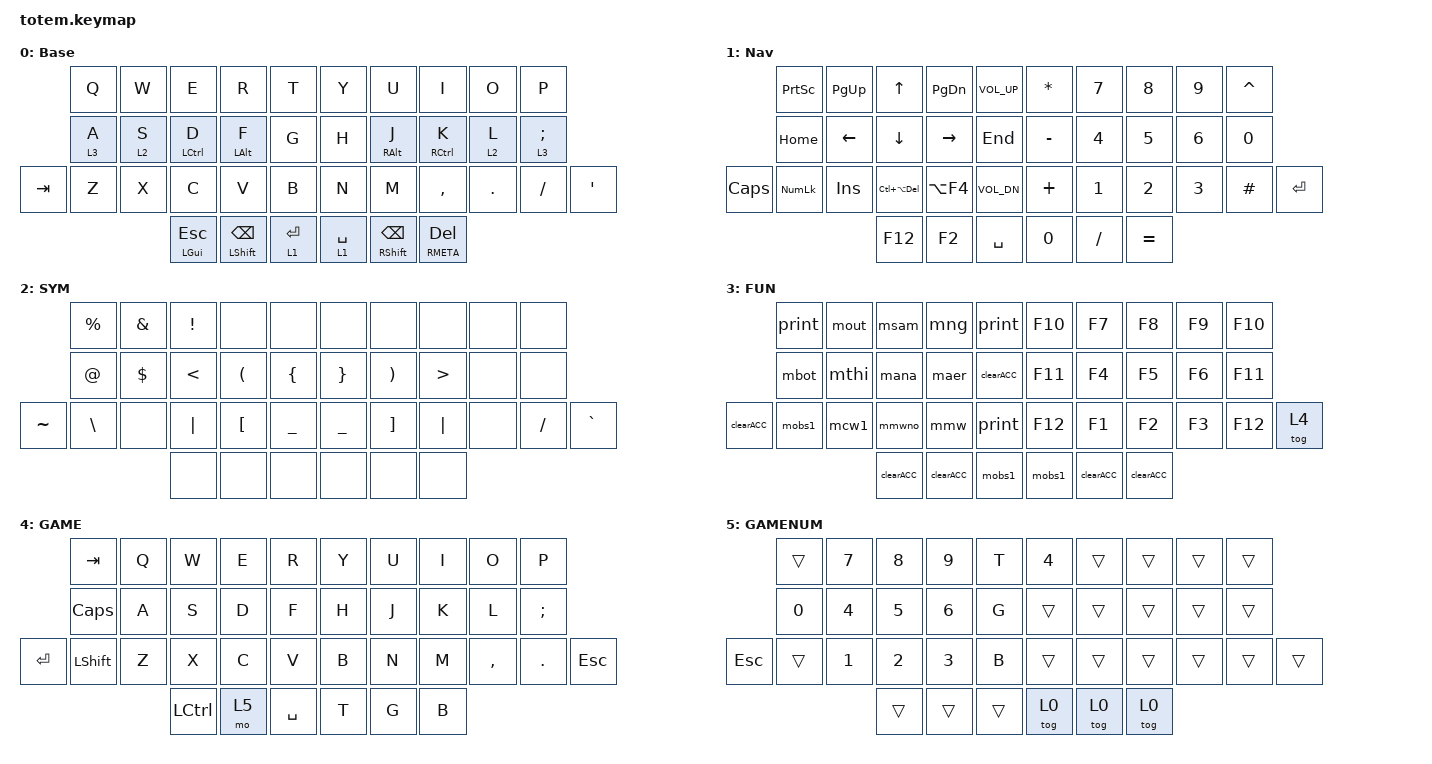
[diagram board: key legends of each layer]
//
//                                                        ▀▀▀▀▀     ▀▀▀▀▀          ▀▀█▀▀
//                                                        ▄▀▀▀▄  ▄  ▄▀▀▀▄  ▄  ▄▀▀▀▄  █  ▄▀▀▀▄
//                                                        █   █  █  █   █  █  █   █  █  █   █
//                                                         ▀▀▀   █   ▀▀▀   █   ▀▀▀   ▀   ▀▀▀
//                                                               █      ▄▄▄█▄▄▄    █   █  
//                                                               ▀      █  █  █     █▄█
//                                                             ▀▀▀▀▀    █  █  █      ▀
//                                                                      ▀  ▀  ▀
//
// ▄▄▄▄▄▄▄▄▄▄▄▄▄▄▄▄▄▄▄▄▄▄▄▄▄▄▄▄▄▄▄▄▄▄▄▄▄▄▄▄▄▄▄▄▄▄▄▄▄▄▄▄▄▄▄▄▄▄▄▄▄▄▄▄▄▄▄▄▄▄▄▄▄▄▄▄▄▄▄▄▄▄▄▄▄▄▄▄▄▄▄▄▄▄▄▄▄▄▄▄▄▄▄▄▄▄▄▄▄▄▄▄▄▄▄▄▄▄▄▄▄▄▄▄▄▄▄▄▄▄▄▄▄▄▄▄▄▄▄▄▄▄▄▄▄▄▄▄▄

#include <behaviors.dtsi>
#include <dt-bindings/zmk/keys.h>
#include <dt-bindings/zmk/pointing.h>

#define Base        0
#define Nav         1
#define Sym         2
#define Fun         3
#define Game        4
#define Gameplus    5

&mt {
    quick-tap-ms = <120>;
    global-quick-tap;
    flavor = "balanced";
    tapping-term-ms = <200>;
};

&lt {
    tapping-term-ms = <220>;
    flavor = "tap-preferred";
    quick-tap-ms = <125>;
};

/ {
    behaviors {
        hm: homerow_mods {
            compatible = "zmk,behavior-hold-tap";
            label = "HOMEROW_MODS";
            #binding-cells = <2>;
            flavor = "tap-preferred";
            tapping-term-ms = <200>;
            quick-tap-ms = <125>;
            global-quick-tap;
            bindings = <&kp>, <&kp>;
        };
    };

    macros {
        clearACC: clearACC {
            compatible = "zmk,behavior-macro";
            #binding-cells = <0>;
            bindings = <&kp LA(A) &kp ESCAPE>;
            label = "CLEARACC";
        };

        print: print {
            compatible = "zmk,behavior-macro";
            #binding-cells = <0>;
            bindings = <&kp LA(N) &kp O &kp B &kp S &kp TAB &kp LA(A) &kp B &kp A &kp P &kp TAB &kp SPACE &kp ENTER &kp ESCAPE>;
            label = "PRINT";
        };

        mbot: mbot {
            compatible = "zmk,behavior-macro";
            #binding-cells = <0>;
            bindings = <&kp LS(B) &kp O &kp T &kp T &kp L &kp E &kp S &kp COLON &kp SPACE &kp LS(N) &kp LS(T) &kp LS(D)>;
            label = "MBOT";
        };

        mthi: mthi {
            compatible = "zmk,behavior-macro";
            #binding-cells = <0>;
            bindings = <&none &kp LS(T) &kp H &kp I &kp O &kp COLON &kp SPACE>;
            label = "MTHI";
        };

        maer: maer {
            compatible = "zmk,behavior-macro";
            #binding-cells = <0>;
            bindings = <&kp LS(A) &kp LS(E) &kp LS(R) &kp SPACE &kp LS(P) &kp L &kp A &kp T &kp E &kp S &kp COLON &kp SPACE>;
            label = "MAER";
        };

        mana: mana {
            compatible = "zmk,behavior-macro";
            #binding-cells = <0>;
            bindings = <&kp LS(A) &kp LS(N) &kp LS(A) &kp SPACE &kp LS(P) &kp L &kp A &kp T &kp E &kp S &kp COLON &kp SPACE>;
            label = "MANA";
        };

        msam: msam {
            compatible = "zmk,behavior-macro";
            #binding-cells = <0>;
            bindings = <&kp LS(S) &kp LS(A) &kp LS(M) &kp LS(E) &kp RET>;
            label = "MSAM";
        };

        mng: mng {
            compatible = "zmk,behavior-macro";
            #binding-cells = <0>;
            bindings = <&kp LS(N) &kp LS(G) &kp RET>;
            label = "MNG";
        };

        mout: mout {
            compatible = "zmk,behavior-macro";
            #binding-cells = <0>;
            bindings = <&kp BACKSPACE &kp SPACE &kp LS(O) &kp LS(U) &kp LS(T) &kp RET>;
            label = "MOUT";
        };

        mmw: mmw {
            compatible = "zmk,behavior-macro";
            #binding-cells = <0>;
            bindings = <&kp LS(M) &kp LS(W) &kp SPACE &kp N3 &kp SPACE &kp T &kp O &kp SPACE &kp N4 &kp SPACE &kp T &kp Y &kp P &kp E &kp S>;
            label = "MMW";
        };

        mmwno: mmwno {
            compatible = "zmk,behavior-macro";
            #binding-cells = <0>;
            bindings = <&kp LS(M) &kp LS(W) &kp SPACE &kp N3 &kp SPACE &kp T &kp O &kp SPACE &kp N4 &kp SPACE &kp T &kp Y &kp P &kp E &kp S &kp COMMA &kp SPACE &kp LS(N) &kp O &kp SPACE &kp LS(B) &kp LS(H)>;
            label = "MMWNO";
        };

        mobs1: mobs1 {
            compatible = "zmk,behavior-macro";
            #binding-cells = <0>;
            bindings = <&kp LA(N) &kp F3>;
            label = "MOBS1";
        };

        mcw1: mcw1 {
            compatible = "zmk,behavior-macro";
            #binding-cells = <0>;
            bindings = <&kp C &kp W &kp TAB>;
            label = "MCW1";
        };
    };

    combos {
        compatible = "zmk,combos";

        wpre {
            bindings = <&kp LC(LS(LEFT))>;
            key-positions = <6 7>;
        };

        wnext {
            bindings = <&kp LC(LS(RIGHT))>;
            key-positions = <7 8>;
        };

        wpresel {
            bindings = <&kp LC(LEFT)>;
            key-positions = <5 6>;
        };

        wnextsel {
            bindings = <&kp LC(RIGHT)>;
            key-positions = <8 9>;
        };

        MCLICK {
            bindings = <&mkp MB3>;
            key-positions = <22 24>;
        };

        RCLICK {
            bindings = <&mkp MB2>;
            key-positions = <23 24>;
        };

        LCLICK {
            bindings = <&mkp MB1>;
            key-positions = <22 23>;
        };

        qnext {
            bindings = <&kp LC(N)>;
            key-positions = <31 30>;
        };

        qpre {
            bindings = <&kp LC(P)>;
            key-positions = <31 19>;
        };

        winleft {
            bindings = <&kp LG(LEFT_ARROW)>;
            key-positions = <27 28>;
        };

        winrigh {
            bindings = <&kp LG(RIGHT)>;
            key-positions = <29 30>;
        };

        winhide {
            bindings = <&kp LG(D)>;
            key-positions = <28 29>;
        };
    };

    keymap {
        compatible = "zmk,keymap";

        Base {
            display-name = "Base";
            bindings = <
         &kp Q    &kp W    &kp E                &kp R                     &kp T          &kp Y        &kp U            &kp I             &kp O    &kp P
         &lt 3 A  &lt 2 S  &hm LCTRL D          &hm LEFT_ALT F            &kp G          &kp H        &hm RIGHT_ALT J  &hm RCTRL K       &lt 2 L  &lt 3 SEMICOLON
&kp TAB  &kp Z    &kp X    &kp C                &kp V                     &kp B          &kp N        &kp M            &kp COMMA         &kp DOT  &kp SLASH        &kp APOSTROPHE
                           &mt LEFT_GUI ESCAPE  &mt LEFT_SHIFT BACKSPACE  &lt 1 ENTER    &lt 1 SPACE  &mt RSHFT BSPC   &mt RMETA DELETE
            >;
        };

        NAV {
            display-name = "Nav";
            bindings = <
              &kp PRINTSCREEN  &kp PAGE_UP  &kp UP_ARROW        &kp PAGE_DOWN  &kp C_VOLUME_UP    &kp ASTERISK  &kp NUMBER_7  &kp NUMBER_8  &kp NUMBER_9  &kp CARET
              &kp HOME         &kp LEFT     &kp DOWN            &kp RIGHT      &kp END            &kp MINUS     &kp NUMBER_4  &kp NUMBER_5  &kp NUMBER_6  &kp N0
&kp CAPSLOCK  &kp KP_NUMLOCK   &kp INS      &kp LC(LA(DELETE))  &kp LA(F4)     &kp C_VOL_DN       &kp PLUS      &kp NUMBER_1  &kp NUMBER_2  &kp NUMBER_3  &kp HASH   &kp ENTER
                                            &kp F12             &kp F2         &kp SPACE          &kp N0        &kp SLASH     &kp EQUAL
            >;
        };

        SYM {
            display-name = "SYM";
            bindings = <
           &kp PERCENT    &kp AMPS    &kp EXCLAMATION  &none                 &none             &none            &none                  &none             &none  &none
           &kp AT_SIGN    &kp DOLLAR  &kp LESS_THAN    &kp LEFT_PARENTHESIS  &kp LEFT_BRACE    &kp RIGHT_BRACE  &kp RIGHT_PARENTHESIS  &kp GREATER_THAN  &none  &none
&kp TILDE  &kp BACKSLASH  &none       &kp PIPE         &kp LEFT_BRACKET      &kp UNDER         &kp UNDER        &kp RIGHT_BRACKET      &kp PIPE          &none  &kp SLASH  &kp GRAVE
                                      &none            &none                 &none             &none            &none                  &none
            >;
        };

        FUN {
            bindings = <
           &print  &mout  &msam      &mng       &print       &kp F10  &kp F7     &kp F8     &kp F9  &kp F10
           &mbot   &mthi  &mana      &maer      &clearACC    &kp F11  &kp F4     &kp F5     &kp F6  &kp F11
&clearACC  &mobs1  &mcw1  &mmwno     &mmw       &print       &kp F12  &kp F1     &kp F2     &kp F3  &kp F12  &tog 4
                          &clearACC  &clearACC  &mobs1       &mobs1   &clearACC  &clearACC
            >;
        };

        GAME {
            bindings = <
           &kp TAB    &kp Q  &kp W      &kp E  &kp R        &kp Y  &kp U  &kp I  &kp O      &kp P
           &kp CAPS   &kp A  &kp S      &kp D  &kp F        &kp H  &kp J  &kp K  &kp L      &kp SEMI
&kp ENTER  &kp LSHFT  &kp Z  &kp X      &kp C  &kp V        &kp B  &kp N  &kp M  &kp COMMA  &kp DOT   &kp ESC
                             &kp LCTRL  &mo 5  &kp SPACE    &kp T  &kp G  &kp B
            >;
        };

        GAMENUM {
            bindings = <
            &trans  &kp N7  &kp N8  &kp N9  &kp T     &kp N4  &trans  &trans  &trans  &trans
            &kp N0  &kp N4  &kp N5  &kp N6  &kp G     &trans  &trans  &trans  &trans  &trans
&kp ESCAPE  &trans  &kp N1  &kp N2  &kp N3  &kp B     &trans  &trans  &trans  &trans  &trans  &trans
                            &trans  &trans  &trans    &tog 0  &tog 0  &tog 0
            >;
        };
    };
};
